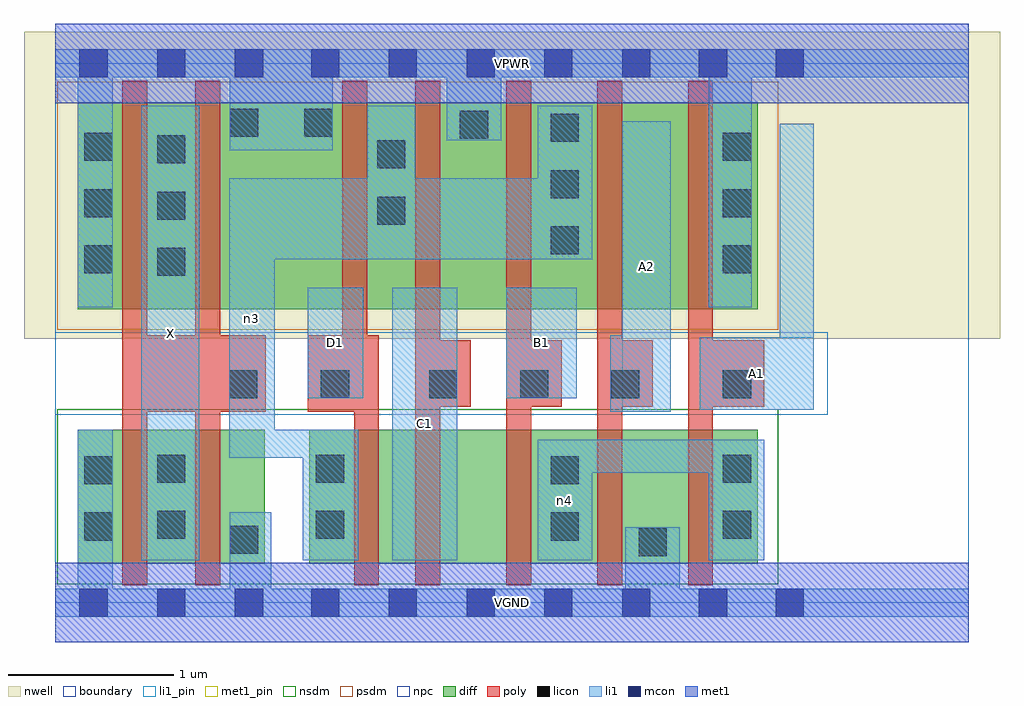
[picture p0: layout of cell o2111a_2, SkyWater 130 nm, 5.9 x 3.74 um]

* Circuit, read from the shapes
.subckt o2111a_2 A1 A2 B1 C1 D1 VGND VPWR X n3 n4
XM1 X n3 VGND VSUBS sky130_fd_pr__nfet_01v8 w=0.81 l=0.15 m=2
XM2 n1 D1 n3 VSUBS sky130_fd_pr__nfet_01v8 w=0.81 l=0.15
XM3 n2 C1 n1 VSUBS sky130_fd_pr__nfet_01v8 w=0.81 l=0.15
XM4 n4 B1 n2 VSUBS sky130_fd_pr__nfet_01v8 w=0.81 l=0.15
XM5 VGND A2 n4 VSUBS sky130_fd_pr__nfet_01v8 w=0.81 l=0.15
XM6 n4 A1 VGND VSUBS sky130_fd_pr__nfet_01v8 w=0.81 l=0.15
XM7 X n3 VPWR n5 sky130_fd_pr__pfet_01v8 w=1.25 l=0.15 m=2
XM8 n3 D1 VPWR n5 sky130_fd_pr__pfet_01v8 w=1.25 l=0.15
XM9 VPWR C1 n3 n5 sky130_fd_pr__pfet_01v8 w=1.25 l=0.15
XM10 n3 B1 VPWR n5 sky130_fd_pr__pfet_01v8 w=1.25 l=0.15
XM11 n6 A2 n3 n5 sky130_fd_pr__pfet_01v8 w=1.25 l=0.15
XM12 VPWR A1 n6 n5 sky130_fd_pr__pfet_01v8 w=1.25 l=0.15
.ends

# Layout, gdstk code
import gdstk
lib = gdstk.Library(unit=1e-6, precision=1e-09)
def R(c, l, rs):  # rectangles x0, y0, x1, y1
    for r in rs: c.add(gdstk.rectangle(r[:2], r[2:], *l))
def A(c, l, x, y, w, h, nx, ny, dx, dy):  # array of equal rectangles
    R(c, l, [(x+i*dx, y+j*dy, x+i*dx+w, y+j*dy+h) for i in range(nx) for j in range(ny)])
nwell = (64, 20)
diff = (65, 20)
poly = (66, 20)
licon = (66, 44)
li1_pin = (67, 16)
li1 = (67, 20)
mcon = (67, 44)
met1_pin = (68, 16)
met1 = (68, 20)
nsdm = (93, 44)
psdm = (94, 20)
npc = (95, 20)
boundary = (235, 4)

o2111a_2 = lib.new_cell('o2111a_2')
R(o2111a_2, nwell, [(-0.19,1.595,5.71,3.45), (0,1.595,5.52,3.45)])
R(o2111a_2, diff, [(0.135,0.235,1.265,1.045), (1.535,0.235,4.245,1.045), (0.135,1.775,4.245,3.025)])
A(o2111a_2, poly, 2.175, 0.105, 0.15, 3.05, 4, 1, 0.55, 0)
A(o2111a_2, poly, 2.175, 1.185, 0.335, 0.4, 3, 1, 0.55, 0)
R(o2111a_2, poly, [(0.405,0.105,0.555,3.155), (0.845,0.105,0.995,3.155), (1.805,0.105,1.955,1.615), (0.405,1.155,1.27,1.615), (1.525,1.155,1.955,1.615), (1.735,1.155,1.885,3.155), (3.825,1.185,4.285,1.585)])
A(o2111a_2, licon, 2.26, 1.235, 0.17, 0.17, 3, 1, 0.55, 0)
A(o2111a_2, licon, 0.615, 1.975, 0.17, 0.17, 1, 3, 0, 0.34)
A(o2111a_2, licon, 0.175, 1.99, 0.17, 0.17, 1, 3, 0, 0.34)
A(o2111a_2, licon, 4.035, 1.99, 0.17, 0.17, 1, 3, 0, 0.34)
A(o2111a_2, licon, 2.995, 2.105, 0.17, 0.17, 1, 3, 0, 0.34)
R(o2111a_2, licon, [(3.525,0.28,3.695,0.45), (1.055,0.295,1.225,0.465), (0.175,0.375,0.345,0.545), (2.995,0.375,3.165,0.545), (0.615,0.385,0.785,0.555), (1.575,0.385,1.745,0.555), (4.035,0.385,4.205,0.555), (0.175,0.715,0.345,0.885), (2.995,0.715,3.165,0.885), (0.615,0.725,0.785,0.895), (1.575,0.725,1.745,0.895), (4.035,0.725,4.205,0.895), (1.05,1.235,1.22,1.405), (1.605,1.235,1.775,1.405), (4.035,1.235,4.205,1.405), (1.945,2.285,2.115,2.455), (1.945,2.625,2.115,2.795), (2.445,2.805,2.615,2.975), (1.055,2.815,1.225,2.985), (1.505,2.815,1.675,2.985)])
R(o2111a_2, li1_pin, [(0.52,0.255,0.87,3.005), (2.035,0.255,2.43,1.905), (3.425,1.155,3.72,2.91), (3.895,1.165,4.585,1.605), (1.525,1.235,1.86,1.905), (2.725,1.235,3.15,1.905)])
R(o2111a_2, li1, [(0,-0.085,5.52,0.085), (0.135,-0.085,0.345,1.045), (1.055,-0.085,1.305,0.545), (3.445,-0.085,3.775,0.455), (0.52,0.255,0.87,3.005), (1.495,0.255,1.83,1.045), (2.035,0.255,2.43,1.905), (2.915,0.255,3.245,0.985), (3.95,0.255,4.285,0.985), (2.915,0.785,4.285,0.985), (1.05,0.875,1.325,2.565), (1.05,0.875,1.83,1.045), (3.355,1.155,3.72,1.615), (3.425,1.155,3.72,2.91), (3.895,1.165,4.585,1.605), (4.38,1.165,4.585,2.895), (1.525,1.235,1.86,1.905), (2.725,1.235,3.15,1.905), (0.135,1.785,0.345,3.345), (3.95,1.785,4.21,3.345), (1.05,2.075,3.245,2.565), (1.885,2.075,2.175,3.005), (2.915,2.075,3.245,3.005), (1.055,2.735,1.675,3.345), (2.365,2.795,2.695,3.345), (0,3.175,5.52,3.345)])
A(o2111a_2, mcon, 0.145, -0.085, 0.17, 0.17, 3, 2, 0.47, 3.26)
A(o2111a_2, mcon, 1.545, -0.085, 0.17, 0.17, 5, 2, 0.47, 3.26)
R(o2111a_2, mcon, [(3.89,-0.085,4.06,0.085), (4.355,-0.085,4.525,0.085), (3.89,3.175,4.06,3.345), (4.355,3.175,4.525,3.345)])
R(o2111a_2, met1_pin, [(0,-0.24,5.52,0.24), (0,3.02,5.52,3.5)])
R(o2111a_2, met1, [(0,-0.24,5.52,0.24), (0,3.02,5.52,3.5)])
R(o2111a_2, nsdm, [(0.01,0.11,4.37,1.17)])
R(o2111a_2, psdm, [(0.01,1.65,4.37,3.15)])
R(o2111a_2, npc, [(0,1.135,4.67,1.635)])
R(o2111a_2, boundary, [(0,0,5.52,3.26)])
o2111a_2.add(gdstk.Label('A1', (4.24,1.385), layer=67, texttype=5))
o2111a_2.add(gdstk.Label('A2', (3.572,2.032), layer=67, texttype=5))
o2111a_2.add(gdstk.Label('B1', (2.937,1.57), layer=67, texttype=5))
o2111a_2.add(gdstk.Label('C1', (2.232,1.08), layer=67, texttype=5))
o2111a_2.add(gdstk.Label('D1', (1.692,1.57), layer=67, texttype=5))
o2111a_2.add(gdstk.Label('X', (0.695,1.63), layer=67, texttype=5))
o2111a_2.add(gdstk.Label('n4', (3.08,0.62), layer=67, texttype=5))
o2111a_2.add(gdstk.Label('n3', (1.187,1.72), layer=67, texttype=5))
o2111a_2.add(gdstk.Label('VPWR', (2.76,3.26), layer=68, texttype=5))
o2111a_2.add(gdstk.Label('VGND', (2.76,0), layer=68, texttype=5))
o2111a_2.add(gdstk.Label('A1', (4.24,1.385), layer=67, texttype=16))
o2111a_2.add(gdstk.Label('A2', (3.572,2.032), layer=67, texttype=16))
o2111a_2.add(gdstk.Label('B1', (2.937,1.57), layer=67, texttype=16))
o2111a_2.add(gdstk.Label('C1', (2.232,1.08), layer=67, texttype=16))
o2111a_2.add(gdstk.Label('D1', (1.692,1.57), layer=67, texttype=16))
o2111a_2.add(gdstk.Label('X', (0.695,1.63), layer=67, texttype=16))
o2111a_2.add(gdstk.Label('VPWR', (2.76,3.26), layer=68, texttype=16))
o2111a_2.add(gdstk.Label('VGND', (2.76,0), layer=68, texttype=16))

lib.write_gds('o2111a_2.gds')
